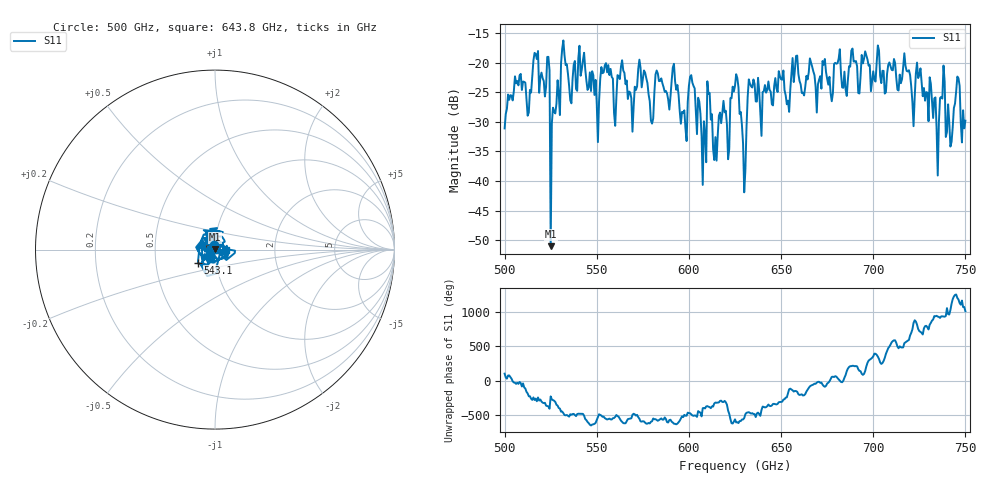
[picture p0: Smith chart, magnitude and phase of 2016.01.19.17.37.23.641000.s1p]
!Created with skrf (http://scikit-rf.org).
# GHz S RI R 50.0
!freq ReS11 ImS11
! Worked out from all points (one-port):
!   401 points, 500 GHz to 750 GHz, reference 50 ohm
!   lowest |S11| = -51.0 dB at 525 GHz (marker M1), VSWR 1.01, Z = 49.8 + j0.197 ohm
!   |S11| at or under -10 dB: start of sweep to end of sweep
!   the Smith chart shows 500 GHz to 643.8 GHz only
!   S11 on the Smith chart (normalised r, x): 500 GHz: 0.98, +0.05; 543.1 GHz: 0.82, -0.12; 643.8 GHz: 1.13, -0.00
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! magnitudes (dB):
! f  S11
! 500 GHz  -31.1
! 506.9 GHz  -23.1
! 513.1 GHz  -28.4
! 516.9 GHz  -18.5
! 523.1 GHz  -19.0
! 525 GHz  -51.0
! 526.2 GHz  -27.6
! 531.2 GHz  -17.6
! 543.1 GHz  -18.3
! 550 GHz  -27.0
! 562.5 GHz  -22.8
! 593.8 GHz  -23.8
! 597.5 GHz  -28.1
! 601.9 GHz  -23.4
! 608.1 GHz  -29.9
! 611.2 GHz  -25.1
! 614.4 GHz  -32.6
! 625 GHz  -23.9
! 630 GHz  -41.9
! 633.8 GHz  -24.0
! 643.8 GHz  -24.6
! 656.2 GHz  -19.2
! 687.5 GHz  -20.7
! 718.8 GHz  -21.5
! 733.8 GHz  -25.9
! 737.5 GHz  -26.1
! 740.6 GHz  -27.1
! 750 GHz  -29.8
